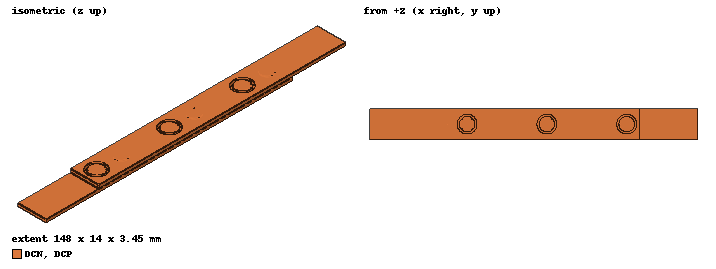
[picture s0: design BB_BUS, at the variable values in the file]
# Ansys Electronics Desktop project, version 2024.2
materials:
  vacuum: permittivity=1
  copper: permeability=0.999991 conductivity=58000000

design BB_BUS (Q3D Extractor, model units mm)
options: SParamCalcMethod=EqTransLine Calculate_Lossy_Dielectrics
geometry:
  DCP [copper] = box(corner=(-38mm, 11.8mm, -8mm), size=(122mm, 14mm, 1.5mm))
  DCN [copper] = box(corner=(-12mm, 11.8mm, -9.75mm), size=(122mm, 14mm, 1.5mm))
  clr0 = cylinder(axis=Z, base_centre=(6mm, 18.8mm, -8.1mm), radius=4.5mm, height=1.7mm)
  boss0 = cylinder(axis=Z, base_centre=(6mm, 18.8mm, -8.25mm), radius=3.5mm, height=1.75mm)
  clr1 = cylinder(axis=Z, base_centre=(42mm, 18.8mm, -8.1mm), radius=4.5mm, height=1.7mm)
  boss1 = cylinder(axis=Z, base_centre=(42mm, 18.8mm, -8.25mm), radius=3.5mm, height=1.75mm)
  clr2 = cylinder(axis=Z, base_centre=(78mm, 18.8mm, -8.1mm), radius=4.5mm, height=1.7mm)
  boss2 = cylinder(axis=Z, base_centre=(78mm, 18.8mm, -8.25mm), radius=3.5mm, height=1.75mm)
  DCP.subtract(clr0, clr1, clr2)
  DCN.unite(boss0, boss1, boss2)
  tp0 = cylinder(axis=Z, base_centre=(-6mm, 18.8mm, -6.5mm), radius=3mm, height=0.2mm)
  tn0 = cylinder(axis=Z, base_centre=(6mm, 18.8mm, -6.5mm), radius=3mm, height=0.2mm)
  tp1 = cylinder(axis=Z, base_centre=(30mm, 18.8mm, -6.5mm), radius=3mm, height=0.2mm)
  tn1 = cylinder(axis=Z, base_centre=(42mm, 18.8mm, -6.5mm), radius=3mm, height=0.2mm)
  tp2 = cylinder(axis=Z, base_centre=(66mm, 18.8mm, -6.5mm), radius=3mm, height=0.2mm)
  tn2 = cylinder(axis=Z, base_centre=(78mm, 18.8mm, -6.5mm), radius=3mm, height=0.2mm)
  DCP.unite(tp0, tp1, tp2)
  DCN.unite(tn0, tn1, tn2)
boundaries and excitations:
  DCP: SignalNet Objects=DCP
  DCN: SignalNet Objects=DCN
  J1_A: Source Faces=DCP.face(at (-6, 18.8, -6.3)) TerminalType=ConstantVoltage Net=DCP
  J2_A: Source Faces=DCN.face(at (6, 18.8, -6.3)) TerminalType=ConstantVoltage Net=DCN
  J1_B: Source Faces=DCP.face(at (30, 18.8, -6.3)) TerminalType=ConstantVoltage Net=DCP
  J2_B: Source Faces=DCN.face(at (42, 18.8, -6.3)) TerminalType=ConstantVoltage Net=DCN
  J1_C: Source Faces=DCP.face(at (66, 18.8, -6.3)) TerminalType=ConstantVoltage Net=DCP
  J2_C: Source Faces=DCN.face(at (78, 18.8, -6.3)) TerminalType=ConstantVoltage Net=DCN
  TAB_P: Sink Faces=DCP.face(-x) TerminalType=ConstantVoltage Net=DCP
  TAB_N: Sink Faces=DCN.face(+x) TerminalType=ConstantVoltage Net=DCN
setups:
  Setup1: Matrix AdaptiveFreq=1MHz Cap{MaxPass=4 MinPass=1 MinConvPass=1 PerError=5 PerRefine=30 AutoIncreaseAccuracy AccuracyLevel=High Solver_Type=Iterative} DC{Cond{MaxPass=10 MinPass=1 MinConvPass=1 PerError=1 PerRefine=30} Mult{MaxPass=1 MinPass=1 MinConvPass=1 PerError=1 PerRefine=30} AccuracyLevel=Normal} AC{MaxPass=12 MinPass=2 MinConvPass=2 PerError=1 PerRefine=30 ACRLSolverType=ACA} ErrorValue=0.1
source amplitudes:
  DCN:J2_A, DCN:J2_B, DCN:J2_C, DCP:J1_B, DCP:J1_C: AC R/L Fields 0A
  DCP:J1_A: AC R/L Fields 1A
  DCN: CG Fields 0V 0deg
  DCP: CG Fields 1V 0deg
  DCN:J2_A, DCN:J2_B, DCN:J2_C, DCP:J1_B, DCP:J1_C: DC R/L Fields 0A
  DCP:J1_A: DC R/L Fields 1A
